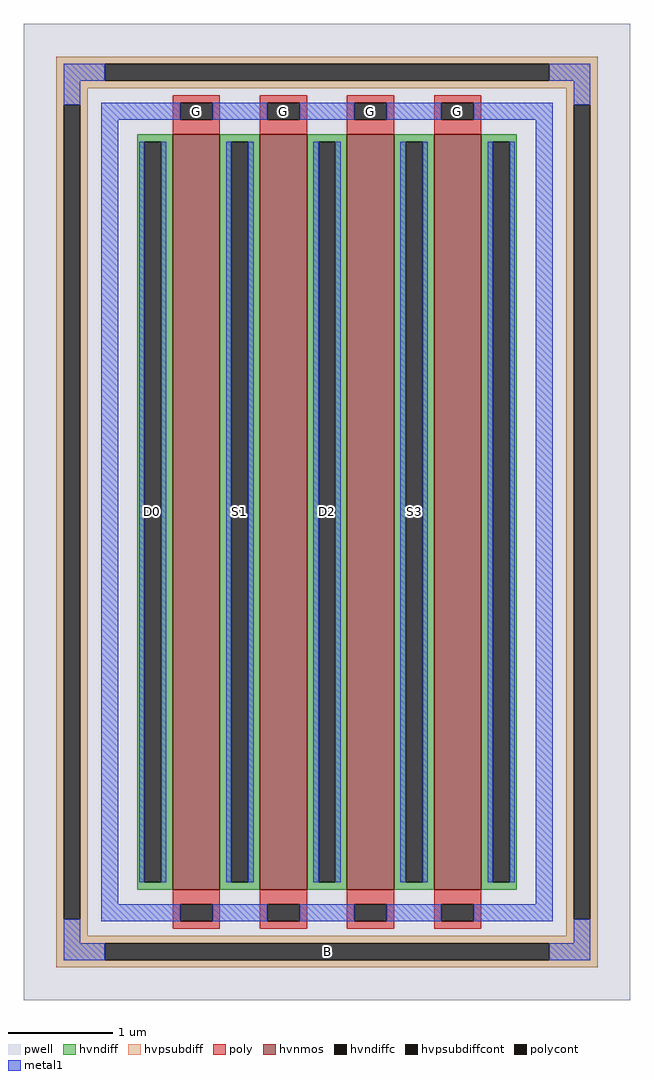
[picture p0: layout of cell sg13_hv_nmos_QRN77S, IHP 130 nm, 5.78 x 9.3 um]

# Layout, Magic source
magic
tech ihp-sg13cmos5l
magscale 1 2
<< pwell >>
rect -578 -930 578 930
<< hvnmos >>
rect -294 -720 -204 720
rect -128 -720 -38 720
rect 38 -720 128 720
rect 204 -720 294 720
<< hvndiff >>
rect -362 706 -294 720
rect -362 -706 -348 706
rect -316 -706 -294 706
rect -362 -720 -294 -706
rect -204 706 -128 720
rect -204 -706 -182 706
rect -150 -706 -128 706
rect -204 -720 -128 -706
rect -38 706 38 720
rect -38 -706 -16 706
rect 16 -706 38 706
rect -38 -720 38 -706
rect 128 706 204 720
rect 128 -706 150 706
rect 182 -706 204 706
rect 128 -720 204 -706
rect 294 706 362 720
rect 294 -706 316 706
rect 348 -706 362 706
rect 294 -720 362 -706
<< hvndiffc >>
rect -348 -706 -316 706
rect -182 -706 -150 706
rect -16 -706 16 706
rect 150 -706 182 706
rect 316 -706 348 706
<< hvpsubdiff >>
rect -516 854 516 868
rect -516 822 -424 854
rect 424 822 516 854
rect -516 808 516 822
rect -516 776 -456 808
rect -516 -776 -502 776
rect -470 -776 -456 776
rect 456 776 516 808
rect -516 -808 -456 -776
rect 456 -776 470 776
rect 502 -776 516 776
rect 456 -808 516 -776
rect -516 -822 516 -808
rect -516 -854 -424 -822
rect 424 -854 516 -822
rect -516 -868 516 -854
<< hvpsubdiffcont >>
rect -424 822 424 854
rect -502 -776 -470 776
rect 470 -776 502 776
rect -424 -854 424 -822
<< poly >>
rect -294 780 -204 794
rect -294 748 -280 780
rect -218 748 -204 780
rect -294 720 -204 748
rect -128 780 -38 794
rect -128 748 -114 780
rect -52 748 -38 780
rect -128 720 -38 748
rect 38 780 128 794
rect 38 748 52 780
rect 114 748 128 780
rect 38 720 128 748
rect 204 780 294 794
rect 204 748 218 780
rect 280 748 294 780
rect 204 720 294 748
rect -294 -748 -204 -720
rect -294 -780 -280 -748
rect -218 -780 -204 -748
rect -294 -794 -204 -780
rect -128 -748 -38 -720
rect -128 -780 -114 -748
rect -52 -780 -38 -748
rect -128 -794 -38 -780
rect 38 -748 128 -720
rect 38 -780 52 -748
rect 114 -780 128 -748
rect 38 -794 128 -780
rect 204 -748 294 -720
rect 204 -780 218 -748
rect 280 -780 294 -748
rect 204 -794 294 -780
<< polycont >>
rect -280 748 -218 780
rect -114 748 -52 780
rect 52 748 114 780
rect 218 748 280 780
rect -280 -780 -218 -748
rect -114 -780 -52 -748
rect 52 -780 114 -748
rect 218 -780 280 -748
<< metal1 >>
rect -502 822 -424 854
rect 424 822 502 854
rect -502 776 -470 822
rect -502 -822 -470 -776
rect -430 748 -280 780
rect -218 748 -114 780
rect -52 748 52 780
rect 114 748 218 780
rect 280 748 430 780
rect -430 -748 -398 748
rect -358 -706 -348 706
rect -316 -706 -306 706
rect -192 -706 -182 706
rect -150 -706 -140 706
rect -26 -706 -16 706
rect 16 -706 26 706
rect 140 -706 150 706
rect 182 -706 192 706
rect 306 -706 316 706
rect 348 -706 358 706
rect 398 -748 430 748
rect -430 -780 -280 -748
rect -218 -780 -114 -748
rect -52 -780 52 -748
rect 114 -780 218 -748
rect 280 -780 430 -748
rect 470 776 502 822
rect 470 -822 502 -776
rect -502 -854 -424 -822
rect 424 -854 502 -822
<< labels >>
rlabel hvpsubdiffcont 0 -838 0 -838 0 B
port 1 nsew
rlabel hvndiffc -332 0 -332 0 0 D0
port 2 nsew
rlabel polycont -249 764 -249 764 0 G
port 3 nsew
rlabel hvndiffc -166 0 -166 0 0 S1
port 4 nsew
rlabel polycont -83 764 -83 764 0 G
port 3 nsew
rlabel hvndiffc 0 0 0 0 0 D2
port 5 nsew
rlabel polycont 83 764 83 764 0 G
port 3 nsew
rlabel hvndiffc 166 0 166 0 0 S3
port 6 nsew
rlabel polycont 249 764 249 764 0 G
port 3 nsew
<< properties >>
string FIXED_BBOX -486 -838 486 838
string gencell sg13_hv_nmos
string library sg13cmos5l
string parameters w 7.2 l 0.45 m 1 ng 4 diffcov 100 polycov 100 guard 1 glc 1 grc 1 gtc 1 gbc 1 tbcov 100 rlcov 100 topc 1 botc 1 poverlap 0 doverlap 1 lmin 0.45 wmin 0.15 class mosfet compatible {sg13_lv_nmos sg13_hv_nmos} full_metal 1 conn_gates 1 gate_ring 1 doports 1 viasrc 0 viadrn 0 viagate 0 ccols 1 viagb 0 viagr 0 viagl 0 viagt 0
<< end >>
